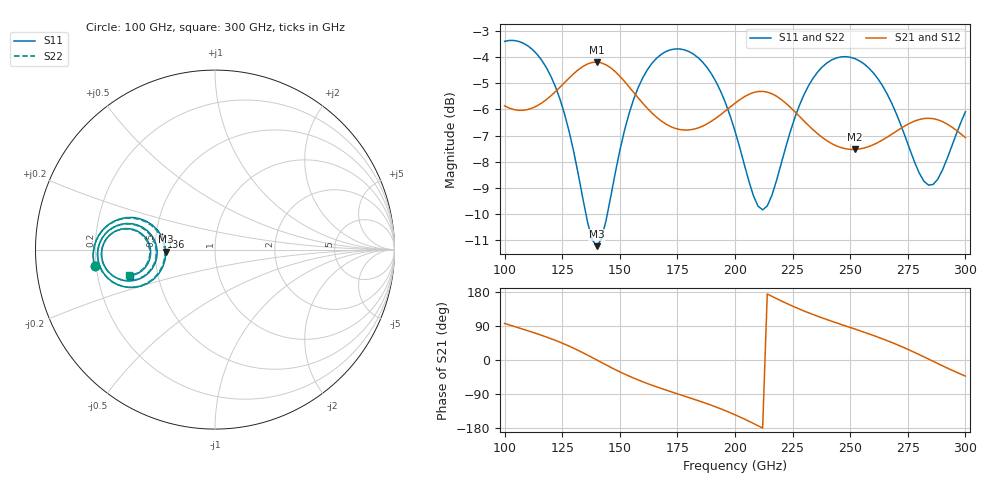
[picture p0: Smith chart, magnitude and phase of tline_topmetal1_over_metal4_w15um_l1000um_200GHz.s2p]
#  GHZ S DB R 50
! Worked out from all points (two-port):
!   101 points, 100 GHz to 300 GHz, reference 50 ohm
!   highest |S21| = -4.19 dB at 140 GHz (marker M1); lowest = -7.5 dB at 252 GHz (marker M2)
!   |S21| within 3 dB of the highest: start of sweep to 239.7 GHz; 263.6 GHz to end of sweep
!   lowest |S11| = -11.2 dB at 140 GHz (marker M3), VSWR 1.76, Z = 28.5 - j0.708 ohm
!   |S11| at or under -10 dB: 135.3 GHz to 144.6 GHz (9.297 GHz wide, 6.64 % of centre)
!   |S22| runs from -11.1 to -3.4 dB; largest |S21 - S12| = 6.2e-14
!   S11 on the Smith chart (normalised r, x): 100 GHz: 0.19, -0.07; 136 GHz: 0.54, +0.09; 300 GHz: 0.34, -0.13
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100  -3.39 -172.3  -5.86 96.5  -5.86 96.5  -3.39 -172.1
110  -3.56 175.5  -6.00 77.3  -6.00 77.3  -3.55 175.8
120  -4.71 164.0  -5.48 56.5  -5.48 56.5  -4.69 164.4
128  -6.84 157.7  -4.80 36.6  -4.80 36.6  -6.80 158.2
134  -9.42 161.3  -4.35 19.2  -4.35 19.2  -9.33 161.9
136  -10.31 166.2  -4.26 12.9  -4.26 12.9  -10.20 166.7
140  -11.23 -177.6  -4.19 0.1  -4.19 0.1  -11.08 -177.4
146  -9.37 -156.8  -4.40 -19.1  -4.40 -19.1  -9.27 -157.1
152  -6.82 -153.7  -4.92 -36.9  -4.92 -36.9  -6.77 -153.9
158  -5.16 -158.2  -5.56 -52.7  -5.56 -52.7  -5.13 -158.3
168  -3.89 -169.1  -6.44 -75.1  -6.44 -75.1  -3.87 -169.1
184  -4.02 173.8  -6.71 -107.2  -6.71 -107.2  -4.00 174.0
200  -6.83 162.4  -5.76 -144.6  -5.76 -144.6  -6.78 162.8
208  -9.30 170.8  -5.35 -167.5  -5.35 -167.5  -9.20 171.1
214  -9.69 -172.0  -5.34 174.2  -5.34 174.2  -9.57 -172.1
224  -6.85 -158.8  -5.92 144.9  -5.92 144.9  -6.80 -159.1
234  -4.79 -164.4  -6.79 119.7  -6.79 119.7  -4.76 -164.6
252  -4.05 178.8  -7.53 81.7  -7.53 81.7  -4.03 178.8
268  -5.76 166.9  -6.95 46.3  -6.95 46.3  -5.72 167.1
284  -8.90 -179.7  -6.34 2.4  -6.34 2.4  -8.80 -179.6
292  -7.90 -165.5  -6.55 -20.8  -6.55 -20.8  -7.82 -165.7
300  -6.09 -162.9  -7.08 -42.5  -7.08 -42.5  -6.04 -163.2
